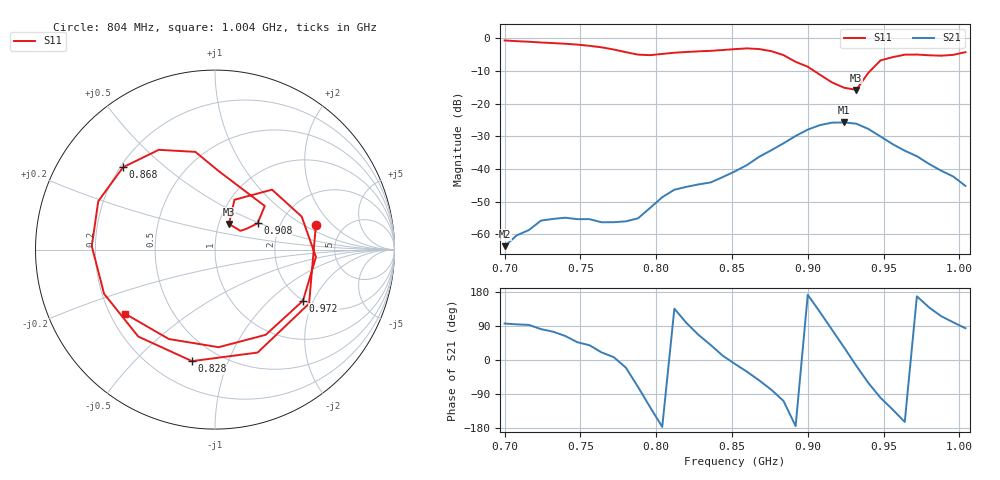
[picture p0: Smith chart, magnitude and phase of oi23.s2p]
# Hz S RI R 50
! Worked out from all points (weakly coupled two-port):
!   39 points, 700 MHz to 1.004 GHz, reference 50 ohm
!   highest |S21| = -25.74 dB at 924 MHz (marker M1); lowest = -63.6 dB at 700 MHz (marker M2)
!   lowest |S11| = -15.8 dB at 932 MHz (marker M3), VSWR 1.39, Z = 55.9 + j16.4 ohm
!   |S11| at or under -10 dB: 904.4 MHz to 941.1 MHz (36.7 MHz wide, 3.98 % of centre)
!   S12 and S22 are empty: the file has one direction only
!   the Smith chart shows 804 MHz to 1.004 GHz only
!   S11 on the Smith chart (normalised r, x): 804 MHz: 3.15, +1.32; 828 MHz: 0.36, -0.75; 868 MHz: 0.21, +0.37; 908 MHz: 1.53, +0.48; 972 MHz: 1.99, -1.67; 1.004 GHz: 0.26, -0.30
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7e8  0.7671 0.5286  -7.18e-05 0.000654  0 0  0 0
7.24e8  0.828 -0.2569  0.00024 0.0016  0 0  0 0
7.4e8  0.4432 -0.7005  0.000804 0.00161  0 0  0 0
7.56e8  -0.1932 -0.746  0.00133 0.00107  0 0  0 0
7.72e8  -0.6495 -0.1898  0.00152 0.000201  0 0  0 0
7.8e8  -0.5729 0.2274  0.00148 -0.000545  0 0  0 0
7.88e8  -0.2222 0.5197  0.000573 -0.00166  0 0  0 0
7.96e8  0.2546 0.4931  -0.00144 -0.00209  0 0  0 0
8.04e8  0.5622 0.1396  -0.0037 -0.00022  0 0  0 0
8.2e8  0.2376 -0.5735  -0.000705 0.00529  0 0  0 0
8.28e8  -0.1281 -0.6215  0.00236 0.00532  0 0  0 0
8.52e8  -0.6866 0.0195  0.00906 -0.00167  0 0  0 0
8.68e8  -0.5123 0.4587  0.00907 -0.0125  0 0  0 0
8.84e8  -0.1092 0.5444  -0.00768 -0.0236  0 0  0 0
9.08e8  0.2371 0.1463  -0.0281 0.0377  0 0  0 0
9.24e8  0.1416 0.1044  0.0434 0.0281  0 0  0 0
9.32e8  0.0779 0.143  0.0478 -0.0129  0 0  0 0
9.48e8  0.3177 0.3339  -0.00529 -0.0311  0 0  0 0
9.56e8  0.4832 0.1836  -0.0157 -0.0182  0 0  0 0
9.72e8  0.4899 -0.2851  -0.0154 0.00324  0 0  0 0
9.88e8  0.0203 -0.5437  -0.00409 0.0085  0 0  0 0
1.004e9  -0.5024 -0.3565  0.000594 0.00548  0 0  0 0
